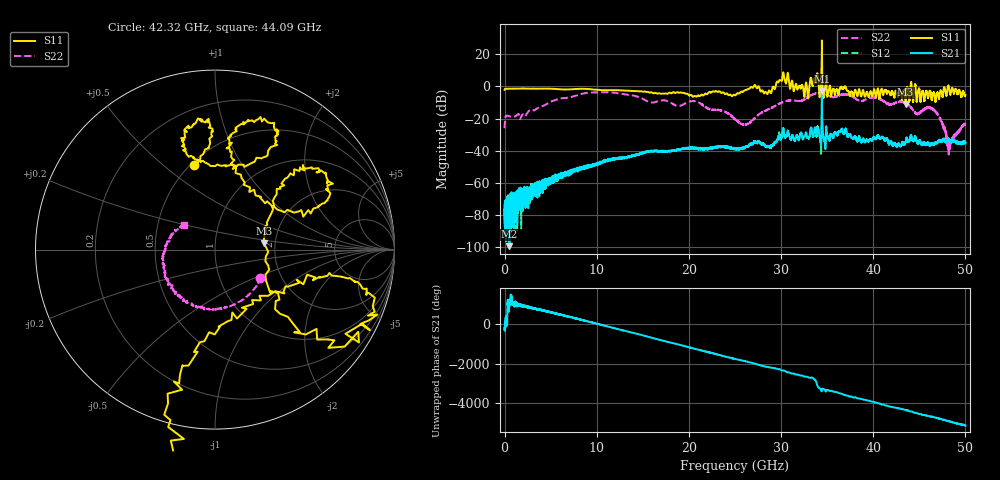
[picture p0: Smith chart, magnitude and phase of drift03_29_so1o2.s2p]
!Created with skrf (http://scikit-rf.org).
# Hz S RI R 50.0
!freq ReS11 ImS11 ReS21 ImS21 ReS12 ImS12 ReS22 ImS22
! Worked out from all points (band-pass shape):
!   10000 points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, 5.3 MHz to 50 GHz, reference 50 ohm
!   highest |S21| = -2.75 dB at 34.43 GHz (marker M1); lowest = -99.5 dB at 525.3 MHz (marker M2)
!   |S21| within 3 dB of the highest: 34.4275 GHz to 34.43528 GHz (7.775 MHz wide, 0.0226 % of centre)
!   lowest |S11| = -11.3 dB at 43.52 GHz (marker M3), VSWR 1.75, Z = 86.9 + j6.71 ohm
!   |S11| at or under -10 dB: 43.49265 GHz to 43.54294 GHz (50.29 MHz wide, 0.116 % of centre); 43.54877 GHz to 43.55055 GHz (1.784 MHz wide, 0.0041 % of centre)
!   |S22| runs from -42.4 to -3.6 dB; largest |S21 - S12| = 0.23
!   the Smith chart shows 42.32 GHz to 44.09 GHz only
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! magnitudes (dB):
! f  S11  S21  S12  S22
! 5.3 MHz  -2.1  -76.8  -76.3  -26.0
! 525.3 MHz  -1.4  -99.5  -82.5  -18.6
! 1.855 GHz  -1.3  -64.7  -63.6  -18.2
! 8.34 GHz  -1.5  -51.2  -50.3  -4.7
! 16.67 GHz  -4.4  -40.6  -40.3  -9.1
! 20.75 GHz  -6.3  -38.5  -38.6  -9.3
! 25.01 GHz  -5.5  -38.7  -38.7  -20.5
! 26.24 GHz  -2.2  -37.2  -37.4  -23.6
! 28.72 GHz  -2.5  -37.9  -37.4  -14.0
! 30.14 GHz  4.5  -29.7  -29.8  -10.0
! 32.74 GHz  2.0  -29.6  -29.2  -7.3
! 33.34 GHz  2.5  -27.4  -27.7  -5.3
! 33.82 GHz  4.0  -29.1  -29.4  -4.3
! 34.43 GHz  28.6  -2.8  -4.8  -4.0
! 36.48 GHz  -0.4  -28.1  -27.9  -5.4
! 41.67 GHz  -3.0  -35.4  -35.3  -10.9
! 43.52 GHz  -11.3  -34.5  -34.5  -10.4
! 44.74 GHz  -8.9  -34.7  -34.8  -17.2
! 46.64 GHz  -4.7  -35.7  -35.6  -15.0
! 47.5 GHz  -6.1  -33.9  -33.7  -23.3
! 48.22 GHz  -0.7  -33.7  -32.8  -35.9
! 50 GHz  -5.3  -35.4  -34.7  -23.3
